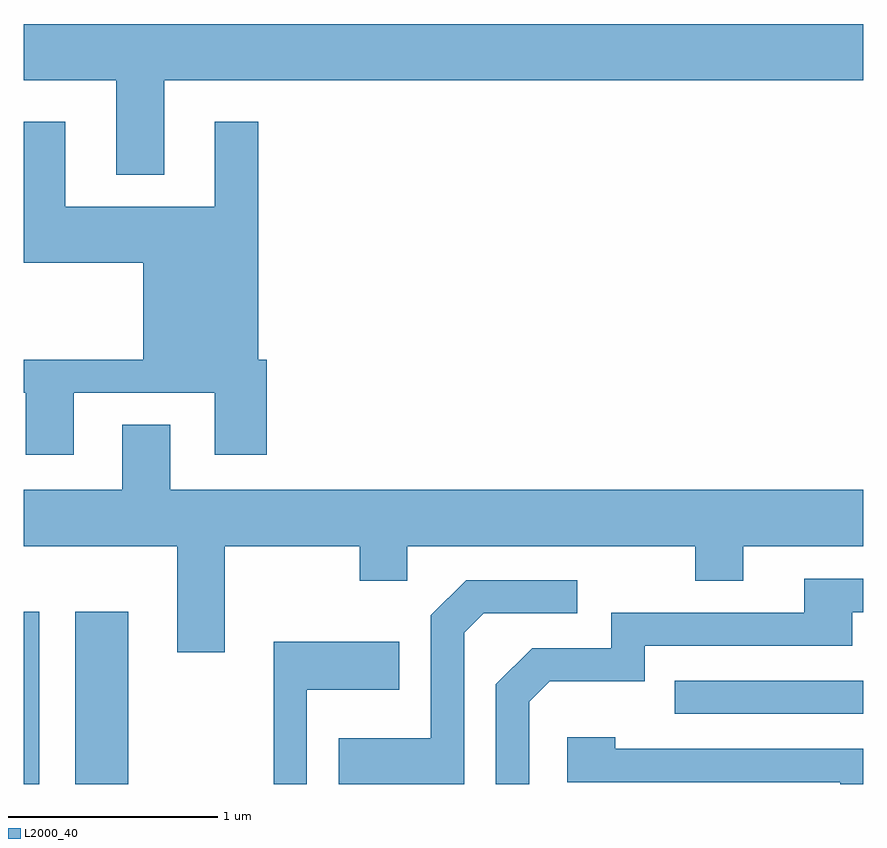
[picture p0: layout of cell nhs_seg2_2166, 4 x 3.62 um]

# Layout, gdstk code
import gdstk
lib = gdstk.Library(unit=1e-6, precision=1e-09)
def R(c, l, rs):  # rectangles x0, y0, x1, y1
    for r in rs: c.add(gdstk.rectangle(r[:2], r[2:], *l))
def P(c, l, *ps):  # polygons
    for p in ps: c.add(gdstk.Polygon(p, *l))
L2000_40 = (2000, 40)

nhs_seg2_2166 = lib.new_cell('nhs_seg2_2166')
R(nhs_seg2_2166, L2000_40, [(247.611,1093.802,247.684,1094.624), (247.856,1093.802,248.109,1094.624), (250.713,1094.136,251.611,1094.294)])
P(nhs_seg2_2166, L2000_40, [(248.279,1097.156),(251.611,1097.156),(251.611,1097.424),(247.611,1097.424),(247.611,1097.156),(248.051,1097.156),(248.051,1096.706),(248.279,1096.706)],
  [(247.849,1095.666),(248.521,1095.666),(248.521,1095.371),(248.769,1095.371),(248.769,1095.824),(248.729,1095.824),(248.729,1096.959),(248.521,1096.959),(248.521,1096.554),(247.809,1096.554),(247.809,1096.959),(247.611,1096.959),(247.611,1096.286),(248.181,1096.286),(248.181,1095.824),(247.611,1095.824),(247.611,1095.666),(247.621,1095.666),(247.621,1095.371),(247.849,1095.371)],
  [(248.569,1094.936),(249.211,1094.936),(249.211,1094.771),(249.439,1094.771),(249.439,1094.936),(250.811,1094.936),(250.811,1094.771),(251.039,1094.771),(251.039,1094.936),(251.611,1094.936),(251.611,1095.204),(248.309,1095.204),(248.309,1095.514),(248.081,1095.514),(248.081,1095.204),(247.611,1095.204),(247.611,1094.936),(248.341,1094.936),(248.341,1094.431),(248.569,1094.431)],
  [(250.019,1094.194),(250.117,1094.291),(250.569,1094.291),(250.569,1094.461),(251.559,1094.461),(251.559,1094.621),(251.611,1094.621),(251.611,1094.779),(251.331,1094.779),(251.331,1094.619),(250.411,1094.619),(250.411,1094.449),(250.034,1094.449),(249.861,1094.277),(249.861,1093.802),(250.019,1093.802)],
  [(249.709,1094.524),(249.802,1094.616),(250.248,1094.616),(250.248,1094.774),(249.719,1094.774),(249.551,1094.607),(249.551,1094.019),(249.111,1094.019),(249.111,1093.802),(249.709,1093.802)],
  [(248.959,1094.251),(249.399,1094.251),(249.399,1094.479),(248.801,1094.479),(248.801,1093.802),(248.959,1093.802)],
  [(251.611,1093.969),(250.429,1093.969),(250.429,1094.024),(250.201,1094.024),(250.201,1093.811),(251.501,1093.811),(251.501,1093.802),(251.611,1093.802)])

lib.write_gds('nhs_seg2_2166.gds')
